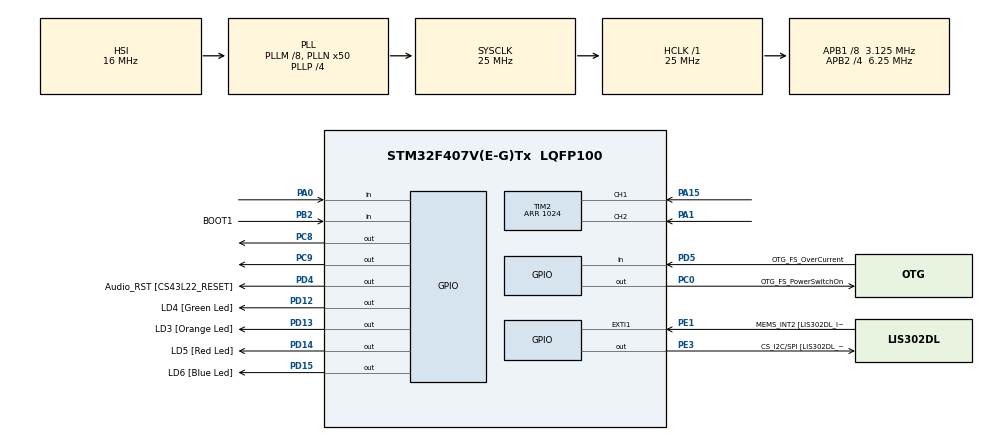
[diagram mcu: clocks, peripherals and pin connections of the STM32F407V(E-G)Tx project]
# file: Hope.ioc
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Mcu.Family=STM32F4
Mcu.Name=STM32F407V(E-G)Tx
Mcu.Package=LQFP100
NVIC.PriorityGroup=NVIC_PRIORITYGROUP_0
PA0-WKUP.GPIO_PuPd=GPIO_PULLUP
PA0-WKUP.Signal=GPIO_Input
PA1.GPIO_PuPd=GPIO_PULLUP
PA1.GPIO_Speed=GPIO_SPEED_FREQ_VERY_HIGH
PA1.Signal=S_TIM2_CH2
PA10.GPIO_Label=OTG_FS_ID
PA10.GPIO_Mode=GPIO_MODE_AF_PP
PA10.GPIO_PuPd=GPIO_NOPULL
PA10.GPIO_Speed=GPIO_SPEED_FREQ_LOW
PA10.Signal=USB_OTG_FS_ID
PA11.GPIO_Label=OTG_FS_DM
PA11.GPIO_Mode=GPIO_MODE_AF_PP
PA11.GPIO_PuPd=GPIO_NOPULL
PA11.GPIO_Speed=GPIO_SPEED_FREQ_LOW
PA11.Signal=USB_OTG_FS_DM
PA12.GPIO_Label=OTG_FS_DP
PA12.GPIO_Mode=GPIO_MODE_AF_PP
PA12.GPIO_PuPd=GPIO_NOPULL
PA12.GPIO_Speed=GPIO_SPEED_FREQ_LOW
PA12.Signal=USB_OTG_FS_DP
PA13.GPIO_Label=SWDIO
PA13.Signal=SYS_JTMS-SWDIO
PA14.GPIO_Label=SWCLK
PA14.Signal=SYS_JTCK-SWCLK
PA15.GPIO_PuPd=GPIO_PULLUP
PA15.GPIO_Speed=GPIO_SPEED_FREQ_VERY_HIGH
PA15.Signal=S_TIM2_CH1_ETR
PA4.GPIO_Label=I2S3_WS [CS43L22_LRCK]
PA4.GPIO_Mode=GPIO_MODE_AF_PP
PA4.GPIO_PuPd=GPIO_NOPULL
PA4.GPIO_Speed=GPIO_SPEED_FREQ_LOW
PA4.Signal=I2S3_WS
PA5.GPIO_Label=SPI1_SCK [LIS302DL_SCL/SPC]
PA5.GPIO_Mode=GPIO_MODE_AF_PP
PA5.GPIO_PuPd=GPIO_NOPULL
PA5.GPIO_Speed=GPIO_SPEED_FREQ_LOW
PA5.Signal=SPI1_SCK
PA6.GPIO_Label=SPI1_MISO [LIS302DL_SDO]
PA6.GPIO_Mode=GPIO_MODE_AF_PP
PA6.GPIO_PuPd=GPIO_NOPULL
PA6.GPIO_Speed=GPIO_SPEED_FREQ_LOW
PA6.Signal=SPI1_MISO
PA7.GPIO_Label=SPI1_MOSI [LIS302DL_SDA/SDI/SDO]
PA7.GPIO_Mode=GPIO_MODE_AF_PP
PA7.GPIO_PuPd=GPIO_NOPULL
PA7.GPIO_Speed=GPIO_SPEED_FREQ_LOW
PA7.Signal=SPI1_MOSI
PA9.GPIO_Label=VBUS_FS
PA9.GPIO_Mode=GPIO_MODE_INPUT
PA9.GPIO_PuPd=GPIO_NOPULL
PA9.Signal=USB_OTG_FS_VBUS
PB10.GPIO_Label=CLK_IN [MP45DT02_CLK]
PB10.GPIO_Mode=GPIO_MODE_AF_PP
PB10.GPIO_PuPd=GPIO_NOPULL
PB10.GPIO_Speed=GPIO_SPEED_FREQ_LOW
PB10.Signal=I2S2_CK
PB2.GPIO_Label=BOOT1
PB2.GPIO_Mode=GPIO_MODE_INPUT
PB2.GPIO_PuPd=GPIO_NOPULL
PB2.Signal=GPIO_Input
PB3.GPIO_Label=SWO
PB3.Signal=SYS_JTDO-SWO
PB6.GPIO_Label=Audio_SCL [CS43L22_SCL]
PB6.GPIO_Mode=GPIO_MODE_AF_OD
PB6.GPIO_PuPd=GPIO_NOPULL
PB6.GPIO_Speed=GPIO_SPEED_FREQ_LOW
PB6.Signal=I2C1_SCL
PB9.GPIO_Label=Audio_SDA [CS43L22_SDA]
PB9.GPIO_Mode=GPIO_MODE_AF_OD
PB9.GPIO_PuPd=GPIO_NOPULL
PB9.GPIO_Speed=GPIO_SPEED_FREQ_LOW
PB9.Signal=I2C1_SDA
PC0.GPIO_Label=OTG_FS_PowerSwitchOn
PC0.GPIO_PuPd=GPIO_NOPULL
PC0.GPIO_Speed=GPIO_SPEED_FREQ_LOW
PC0.PinState=GPIO_PIN_SET
PC0.Signal=GPIO_Output
PC10.GPIO_Label=I2S3_SCK [CS43L22_SCLK]
PC10.GPIO_Mode=GPIO_MODE_AF_PP
PC10.GPIO_PuPd=GPIO_NOPULL
PC10.GPIO_Speed=GPIO_SPEED_FREQ_LOW
PC10.Signal=I2S3_CK
PC12.GPIO_Label=I2S3_SD [CS43L22_SDIN]
PC12.GPIO_Mode=GPIO_MODE_AF_PP
PC12.GPIO_PuPd=GPIO_NOPULL
PC12.GPIO_Speed=GPIO_SPEED_FREQ_LOW
PC12.Signal=I2S3_SD
PC14-OSC32_IN.GPIO_Label=PC14-OSC32_IN
PC14-OSC32_IN.Signal=RCC_OSC32_IN
PC15-OSC32_OUT.GPIO_Label=PC15-OSC32_OUT
PC15-OSC32_OUT.Signal=RCC_OSC32_OUT
PC3.GPIO_Label=PDM_OUT [MP45DT02_DOUT]
PC3.GPIO_Mode=GPIO_MODE_AF_PP
PC3.GPIO_PuPd=GPIO_NOPULL
PC3.GPIO_Speed=GPIO_SPEED_FREQ_LOW
PC3.Signal=I2S2_SD
PC7.GPIO_Label=I2S3_MCK [CS43L22_MCLK]
PC7.GPIO_Mode=GPIO_MODE_AF_PP
PC7.GPIO_PuPd=GPIO_NOPULL
PC7.GPIO_Speed=GPIO_SPEED_FREQ_LOW
PC7.Signal=I2S3_MCK
PC8.GPIO_PuPd=GPIO_PULLUP
PC8.Signal=GPIO_Output
PC9.GPIO_PuPd=GPIO_PULLUP
PC9.Signal=GPIO_Output
PD12.GPIO_Label=LD4 [Green Led]
PD12.GPIO_PuPd=GPIO_NOPULL
PD12.GPIO_Speed=GPIO_SPEED_FREQ_LOW
PD12.PinState=GPIO_PIN_SET
PD12.Signal=GPIO_Output
PD13.GPIO_Label=LD3 [Orange Led]
PD13.GPIO_PuPd=GPIO_NOPULL
PD13.GPIO_Speed=GPIO_SPEED_FREQ_LOW
PD13.PinState=GPIO_PIN_SET
PD13.Signal=GPIO_Output
PD14.GPIO_Label=LD5 [Red Led]
PD14.GPIO_PuPd=GPIO_NOPULL
PD14.GPIO_Speed=GPIO_SPEED_FREQ_LOW
PD14.PinState=GPIO_PIN_SET
PD14.Signal=GPIO_Output
PD15.GPIO_Label=LD6 [Blue Led]
PD15.GPIO_PuPd=GPIO_NOPULL
PD15.GPIO_Speed=GPIO_SPEED_FREQ_LOW
PD15.Signal=GPIO_Output
PD4.GPIO_Label=Audio_RST [CS43L22_RESET]
PD4.GPIO_PuPd=GPIO_NOPULL
PD4.GPIO_Speed=GPIO_SPEED_FREQ_LOW
PD4.Signal=GPIO_Output
PD5.GPIO_Label=OTG_FS_OverCurrent
PD5.GPIO_Mode=GPIO_MODE_INPUT
PD5.GPIO_PuPd=GPIO_NOPULL
PD5.Signal=GPIO_Input
PE1.GPIO_Label=MEMS_INT2 [LIS302DL_INT2]
PE1.GPIO_ModeDefaultEXTI=GPIO_MODE_EVT_RISING
PE1.GPIO_PuPd=GPIO_NOPULL
PE1.Signal=GPXTI1
PE3.GPIO_Label=CS_I2C/SPI [LIS302DL_CS_I2C/SPI]
PE3.GPIO_PuPd=GPIO_NOPULL
PE3.GPIO_Speed=GPIO_SPEED_FREQ_LOW
PE3.Signal=GPIO_Output
PH0-OSC_IN.GPIO_Label=PH0-OSC_IN
PH0-OSC_IN.Mode=HSE-External-Oscillator
PH0-OSC_IN.Signal=RCC_OSC_IN
PH1-OSC_OUT.GPIO_Label=PH1-OSC_OUT
PH1-OSC_OUT.Mode=HSE-External-Oscillator
PH1-OSC_OUT.Signal=RCC_OSC_OUT
ProjectManager.HeapSize=0x200
ProjectManager.StackSize=0x400
ProjectManager.TargetToolchain=MDK-ARM V5
RCC.48MHZClocksFreq_Value=14285714.285714285
RCC.AHBFreq_Value=25000000
RCC.APB1CLKDivider=RCC_HCLK_DIV8
RCC.APB1Freq_Value=3125000
RCC.APB1TimFreq_Value=6250000
RCC.APB2CLKDivider=RCC_HCLK_DIV4
RCC.APB2Freq_Value=6250000
RCC.APB2TimFreq_Value=12500000
RCC.CortexFreq_Value=25000000
RCC.HCLKFreq_Value=25000000
RCC.HSE_VALUE=8000000
RCC.HSI_VALUE=16000000
RCC.LSE_VALUE=32768
RCC.PLLM=8
RCC.PLLN=50
RCC.PLLP=RCC_PLLP_DIV4
RCC.PLLQ=7
RCC.SYSCLKFreq_VALUE=25000000
RCC.SYSCLKSource=RCC_SYSCLKSOURCE_PLLCLK
RCC.VCOOutputFreq_Value=100000000
SH.S_TIM2_CH1_ETR.0=TIM2_CH1,Encoder_Interface
SH.S_TIM2_CH2.0=TIM2_CH2,Encoder_Interface
TIM2.EncoderMode=TIM_ENCODERMODE_TI12
TIM2.Period=1024
board=STM32F4DISCOVERY

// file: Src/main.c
/**
  ******************************************************************************
  * File Name          : main.c
  * Description        : Main program body
  ******************************************************************************
  ** This notice applies to any and all portions of this file
  * that are not between comment pairs USER CODE BEGIN and
  * USER CODE END. Other portions of this file, whether
  * inserted by the user or by software development tools
  * are owned by their respective copyright owners.
  *
  * COPYRIGHT(c) 2018 STMicroelectronics
  *
  * Redistribution and use in source and binary forms, with or without modification,
  * are permitted provided that the following conditions are met:
  *   1. Redistributions of source code must retain the above copyright notice,
  *      this list of conditions and the following disclaimer.
  *   2. Redistributions in binary form must reproduce the above copyright notice,
  *      this list of conditions and the following disclaimer in the documentation
  *      and/or other materials provided with the distribution.
  *   3. Neither the name of STMicroelectronics nor the names of its contributors
  *      may be used to endorse or promote products derived from this software
  *      without specific prior written permission.
  *
  * THIS SOFTWARE IS PROVIDED BY THE COPYRIGHT HOLDERS AND CONTRIBUTORS "AS IS"
  * AND ANY EXPRESS OR IMPLIED WARRANTIES, INCLUDING, BUT NOT LIMITED TO, THE
  * IMPLIED WARRANTIES OF MERCHANTABILITY AND FITNESS FOR A PARTICULAR PURPOSE ARE
  * DISCLAIMED. IN NO EVENT SHALL THE COPYRIGHT HOLDER OR CONTRIBUTORS BE LIABLE
  * FOR ANY DIRECT, INDIRECT, INCIDENTAL, SPECIAL, EXEMPLARY, OR CONSEQUENTIAL
  * DAMAGES (INCLUDING, BUT NOT LIMITED TO, PROCUREMENT OF SUBSTITUTE GOODS OR
  * SERVICES; LOSS OF USE, DATA, OR PROFITS; OR BUSINESS INTERRUPTION) HOWEVER
  * CAUSED AND ON ANY THEORY OF LIABILITY, WHETHER IN CONTRACT, STRICT LIABILITY,
  * OR TORT (INCLUDING NEGLIGENCE OR OTHERWISE) ARISING IN ANY WAY OUT OF THE USE
  * OF THIS SOFTWARE, EVEN IF ADVISED OF THE POSSIBILITY OF SUCH DAMAGE.
  *
  ******************************************************************************
  */

#include "main.h"
#include "stm32f4xx_hal.h"

#define ENCODER_INITIAL_VALUE     30000

TIM_HandleTypeDef htim2;

/* USER CODE BEGIN PV */
uint16_t encCounter;

/* Private variables ---------------------------------------------------------*/

/* USER CODE END PV */

void SystemClock_Config(void);
static void MX_GPIO_Init(void);
static void MX_TIM2_Init(void);

/* USER CODE BEGIN PFP */
/* Private function prototypes -----------------------------------------------*/

/* USER CODE END PFP */

int main(void)
{

  /* MCU Configuration----------------------------------------------------------*/

  /* Reset of all peripherals, Initializes the Flash interface and the Systick. */
  HAL_Init();

  /* Configure the system clock */
  SystemClock_Config();

  /* Initialize all configured peripherals */
  MX_GPIO_Init();
  MX_TIM2_Init();

  /* USER CODE BEGIN 2 */
	HAL_TIM_Encoder_Start(&htim2,TIM_CHANNEL_1);

  /* USER CODE END 2 */

  /* Infinite loop */
  /* USER CODE BEGIN WHILE */

	uint8_t c=0;

  while (1)
  {
  /* USER CODE END WHILE */

  /* USER CODE BEGIN 3 */
		encCounter =TIM2->CNT - ENCODER_INITIAL_VALUE;
		TIM2->CNT = ENCODER_INITIAL_VALUE;

		HAL_Delay(100);

	uint16_t b = HAL_GPIO_ReadPin(GPIOA,GPIO_PIN_0);

  /* USER CODE END WHILE */
	if (b==1) c=c+1;
		HAL_Delay(100);
	if (c>=1)HAL_GPIO_WritePin(GPIOD,GPIO_PIN_12,GPIO_PIN_SET);
	HAL_Delay(100);
	if (c>=2){
		HAL_GPIO_WritePin(GPIOD,GPIO_PIN_12,GPIO_PIN_SET);
		HAL_GPIO_WritePin(GPIOD,GPIO_PIN_13,GPIO_PIN_SET);
	}
	HAL_Delay(100);
	if (c>=3){
		HAL_GPIO_WritePin(GPIOD,GPIO_PIN_12,GPIO_PIN_SET);
		HAL_GPIO_WritePin(GPIOD,GPIO_PIN_13,GPIO_PIN_SET);
		HAL_GPIO_WritePin(GPIOD,GPIO_PIN_14,GPIO_PIN_SET);
			HAL_Delay(100);
	}
	if (c==4){
		HAL_GPIO_WritePin(GPIOD,GPIO_PIN_12,GPIO_PIN_RESET);
		HAL_GPIO_WritePin(GPIOD,GPIO_PIN_13,GPIO_PIN_RESET);
		HAL_GPIO_WritePin(GPIOD,GPIO_PIN_14,GPIO_PIN_RESET);
	};

		if (c==4) c=0;

  }
  /* USER CODE END 3 */

}

/** System Clock Configuration
*/
void SystemClock_Config(void)
{

  RCC_OscInitTypeDef RCC_OscInitStruct;
  RCC_ClkInitTypeDef RCC_ClkInitStruct;

    /**Configure the main internal regulator output voltage
    */
  __HAL_RCC_PWR_CLK_ENABLE();

  __HAL_PWR_VOLTAGESCALING_CONFIG(PWR_REGULATOR_VOLTAGE_SCALE1);

    /**Initializes the CPU, AHB and APB busses clocks
    */
  RCC_OscInitStruct.OscillatorType = RCC_OSCILLATORTYPE_HSI;
  RCC_OscInitStruct.HSIState = RCC_HSI_ON;
  RCC_OscInitStruct.HSICalibrationValue = 16;
  RCC_OscInitStruct.PLL.PLLState = RCC_PLL_ON;
  RCC_OscInitStruct.PLL.PLLSource = RCC_PLLSOURCE_HSI;
  RCC_OscInitStruct.PLL.PLLM = 8;
  RCC_OscInitStruct.PLL.PLLN = 50;
  RCC_OscInitStruct.PLL.PLLP = RCC_PLLP_DIV4;
  RCC_OscInitStruct.PLL.PLLQ = 7;
  if (HAL_RCC_OscConfig(&RCC_OscInitStruct) != HAL_OK)
  {
    _Error_Handler(__FILE__, __LINE__);
  }

    /**Initializes the CPU, AHB and APB busses clocks
    */
  RCC_ClkInitStruct.ClockType = RCC_CLOCKTYPE_HCLK|RCC_CLOCKTYPE_SYSCLK
                              |RCC_CLOCKTYPE_PCLK1|RCC_CLOCKTYPE_PCLK2;
  RCC_ClkInitStruct.SYSCLKSource = RCC_SYSCLKSOURCE_PLLCLK;
  RCC_ClkInitStruct.AHBCLKDivider = RCC_SYSCLK_DIV1;
  RCC_ClkInitStruct.APB1CLKDivider = RCC_HCLK_DIV8;
  RCC_ClkInitStruct.APB2CLKDivider = RCC_HCLK_DIV4;

  if (HAL_RCC_ClockConfig(&RCC_ClkInitStruct, FLASH_LATENCY_0) != HAL_OK)
  {
    _Error_Handler(__FILE__, __LINE__);
  }

    /**Configure the Systick interrupt time
    */
  HAL_SYSTICK_Config(HAL_RCC_GetHCLKFreq()/1000);

    /**Configure the Systick
    */
  HAL_SYSTICK_CLKSourceConfig(SYSTICK_CLKSOURCE_HCLK);

  /* SysTick_IRQn interrupt configuration */
  HAL_NVIC_SetPriority(SysTick_IRQn, 0, 0);
}

/* TIM2 init function */
static void MX_TIM2_Init(void)
{

  TIM_Encoder_InitTypeDef sConfig;
  TIM_MasterConfigTypeDef sMasterConfig;

  htim2.Instance = TIM2;
  htim2.Init.Prescaler = 0;
  htim2.Init.CounterMode = TIM_COUNTERMODE_UP;
  htim2.Init.Period = 1024;
  htim2.Init.ClockDivision = TIM_CLOCKDIVISION_DIV1;
  sConfig.EncoderMode = TIM_ENCODERMODE_TI12;
  sConfig.IC1Polarity = TIM_ICPOLARITY_RISING;
  sConfig.IC1Selection = TIM_ICSELECTION_DIRECTTI;
  sConfig.IC1Prescaler = TIM_ICPSC_DIV1;
  sConfig.IC1Filter = 0;
  sConfig.IC2Polarity = TIM_ICPOLARITY_RISING;
  sConfig.IC2Selection = TIM_ICSELECTION_DIRECTTI;
  sConfig.IC2Prescaler = TIM_ICPSC_DIV1;
  sConfig.IC2Filter = 0;
  if (HAL_TIM_Encoder_Init(&htim2, &sConfig) != HAL_OK)
  {
    _Error_Handler(__FILE__, __LINE__);
  }

  sMasterConfig.MasterOutputTrigger = TIM_TRGO_RESET;
  sMasterConfig.MasterSlaveMode = TIM_MASTERSLAVEMODE_DISABLE;
  if (HAL_TIMEx_MasterConfigSynchronization(&htim2, &sMasterConfig) != HAL_OK)
  {
    _Error_Handler(__FILE__, __LINE__);
  }

}

/** Configure pins as
        * Analog
        * Input
        * Output
        * EVENT_OUT
        * EXTI
     PC3   ------> I2S2_SD
     PA4   ------> I2S3_WS
     PA5   ------> SPI1_SCK
     PA6   ------> SPI1_MISO
     PA7   ------> SPI1_MOSI
     PB10   ------> I2S2_CK
     PC7   ------> I2S3_MCK
     PA9   ------> USB_OTG_FS_VBUS
     PA10   ------> USB_OTG_FS_ID
     PA11   ------> USB_OTG_FS_DM
     PA12   ------> USB_OTG_FS_DP
     PC10   ------> I2S3_CK
     PC12   ------> I2S3_SD
     PB6   ------> I2C1_SCL
     PB9   ------> I2C1_SDA
*/
static void MX_GPIO_Init(void)
{

  GPIO_InitTypeDef GPIO_InitStruct;

  /* GPIO Ports Clock Enable */
  __HAL_RCC_GPIOE_CLK_ENABLE();
  __HAL_RCC_GPIOC_CLK_ENABLE();
  __HAL_RCC_GPIOH_CLK_ENABLE();
  __HAL_RCC_GPIOA_CLK_ENABLE();
  __HAL_RCC_GPIOB_CLK_ENABLE();
  __HAL_RCC_GPIOD_CLK_ENABLE();

  /*Configure GPIO pin Output Level */
  HAL_GPIO_WritePin(CS_I2C_SPI_GPIO_Port, CS_I2C_SPI_Pin, GPIO_PIN_RESET);

  /*Configure GPIO pin Output Level */
  HAL_GPIO_WritePin(OTG_FS_PowerSwitchOn_GPIO_Port, OTG_FS_PowerSwitchOn_Pin, GPIO_PIN_SET);

  /*Configure GPIO pin Output Level */
  HAL_GPIO_WritePin(GPIOD, LD4_Pin|LD3_Pin|LD5_Pin, GPIO_PIN_SET);

  /*Configure GPIO pin Output Level */
  HAL_GPIO_WritePin(GPIOD, LD6_Pin|Audio_RST_Pin, GPIO_PIN_RESET);

  /*Configure GPIO pin Output Level */
  HAL_GPIO_WritePin(GPIOC, GPIO_PIN_8|GPIO_PIN_9, GPIO_PIN_RESET);

  /*Configure GPIO pin : CS_I2C_SPI_Pin */
  GPIO_InitStruct.Pin = CS_I2C_SPI_Pin;
  GPIO_InitStruct.Mode = GPIO_MODE_OUTPUT_PP;
  GPIO_InitStruct.Pull = GPIO_NOPULL;
  GPIO_InitStruct.Speed = GPIO_SPEED_FREQ_LOW;
  HAL_GPIO_Init(CS_I2C_SPI_GPIO_Port, &GPIO_InitStruct);

  /*Configure GPIO pin : OTG_FS_PowerSwitchOn_Pin */
  GPIO_InitStruct.Pin = OTG_FS_PowerSwitchOn_Pin;
  GPIO_InitStruct.Mode = GPIO_MODE_OUTPUT_PP;
  GPIO_InitStruct.Pull = GPIO_NOPULL;
  GPIO_InitStruct.Speed = GPIO_SPEED_FREQ_LOW;
  HAL_GPIO_Init(OTG_FS_PowerSwitchOn_GPIO_Port, &GPIO_InitStruct);

  /*Configure GPIO pin : PDM_OUT_Pin */
  GPIO_InitStruct.Pin = PDM_OUT_Pin;
  GPIO_InitStruct.Mode = GPIO_MODE_AF_PP;
  GPIO_InitStruct.Pull = GPIO_NOPULL;
  GPIO_InitStruct.Speed = GPIO_SPEED_FREQ_LOW;
  GPIO_InitStruct.Alternate = GPIO_AF5_SPI2;
  HAL_GPIO_Init(PDM_OUT_GPIO_Port, &GPIO_InitStruct);

  /*Configure GPIO pin : PA0 */
  GPIO_InitStruct.Pin = GPIO_PIN_0;
  GPIO_InitStruct.Mode = GPIO_MODE_INPUT;
  GPIO_InitStruct.Pull = GPIO_NOPULL;
  HAL_GPIO_Init(GPIOA, &GPIO_InitStruct);

  /*Configure GPIO pin : I2S3_WS_Pin */
  GPIO_InitStruct.Pin = I2S3_WS_Pin;
  GPIO_InitStruct.Mode = GPIO_MODE_AF_PP;
  GPIO_InitStruct.Pull = GPIO_NOPULL;
  GPIO_InitStruct.Speed = GPIO_SPEED_FREQ_LOW;
  GPIO_InitStruct.Alternate = GPIO_AF6_SPI3;
  HAL_GPIO_Init(I2S3_WS_GPIO_Port, &GPIO_InitStruct);

  /*Configure GPIO pins : SPI1_SCK_Pin SPI1_MISO_Pin SPI1_MOSI_Pin */
  GPIO_InitStruct.Pin = SPI1_SCK_Pin|SPI1_MISO_Pin|SPI1_MOSI_Pin;
  GPIO_InitStruct.Mode = GPIO_MODE_AF_PP;
  GPIO_InitStruct.Pull = GPIO_NOPULL;
  GPIO_InitStruct.Speed = GPIO_SPEED_FREQ_LOW;
  GPIO_InitStruct.Alternate = GPIO_AF5_SPI1;
  HAL_GPIO_Init(GPIOA, &GPIO_InitStruct);

  /*Configure GPIO pin : BOOT1_Pin */
  GPIO_InitStruct.Pin = BOOT1_Pin;
  GPIO_InitStruct.Mode = GPIO_MODE_INPUT;
  GPIO_InitStruct.Pull = GPIO_NOPULL;
  HAL_GPIO_Init(BOOT1_GPIO_Port, &GPIO_InitStruct);

  /*Configure GPIO pin : CLK_IN_Pin */
  GPIO_InitStruct.Pin = CLK_IN_Pin;
  GPIO_InitStruct.Mode = GPIO_MODE_AF_PP;
  GPIO_InitStruct.Pull = GPIO_NOPULL;
  GPIO_InitStruct.Speed = GPIO_SPEED_FREQ_LOW;
  GPIO_InitStruct.Alternate = GPIO_AF5_SPI2;
  HAL_GPIO_Init(CLK_IN_GPIO_Port, &GPIO_InitStruct);

  /*Configure GPIO pins : LD4_Pin LD3_Pin LD5_Pin LD6_Pin
                           Audio_RST_Pin */
  GPIO_InitStruct.Pin = LD4_Pin|LD3_Pin|LD5_Pin|LD6_Pin
                          |Audio_RST_Pin;
  GPIO_InitStruct.Mode = GPIO_MODE_OUTPUT_PP;
  GPIO_InitStruct.Pull = GPIO_NOPULL;
  GPIO_InitStruct.Speed = GPIO_SPEED_FREQ_LOW;
  HAL_GPIO_Init(GPIOD, &GPIO_InitStruct);

  /*Configure GPIO pins : I2S3_MCK_Pin I2S3_SCK_Pin I2S3_SD_Pin */
  GPIO_InitStruct.Pin = I2S3_MCK_Pin|I2S3_SCK_Pin|I2S3_SD_Pin;
  GPIO_InitStruct.Mode = GPIO_MODE_AF_PP;
  GPIO_InitStruct.Pull = GPIO_NOPULL;
  GPIO_InitStruct.Speed = GPIO_SPEED_FREQ_LOW;
  GPIO_InitStruct.Alternate = GPIO_AF6_SPI3;
  HAL_GPIO_Init(GPIOC, &GPIO_InitStruct);

  /*Configure GPIO pins : PC8 PC9 */
  GPIO_InitStruct.Pin = GPIO_PIN_8|GPIO_PIN_9;
  GPIO_InitStruct.Mode = GPIO_MODE_OUTPUT_PP;
  GPIO_InitStruct.Pull = GPIO_PULLUP;
  GPIO_InitStruct.Speed = GPIO_SPEED_FREQ_LOW;
  HAL_GPIO_Init(GPIOC, &GPIO_InitStruct);

  /*Configure GPIO pin : VBUS_FS_Pin */
  GPIO_InitStruct.Pin = VBUS_FS_Pin;
  GPIO_InitStruct.Mode = GPIO_MODE_INPUT;
  GPIO_InitStruct.Pull = GPIO_NOPULL;
  HAL_GPIO_Init(VBUS_FS_GPIO_Port, &GPIO_InitStruct);

  /*Configure GPIO pins : OTG_FS_ID_Pin OTG_FS_DM_Pin OTG_FS_DP_Pin */
  GPIO_InitStruct.Pin = OTG_FS_ID_Pin|OTG_FS_DM_Pin|OTG_FS_DP_Pin;
  GPIO_InitStruct.Mode = GPIO_MODE_AF_PP;
  GPIO_InitStruct.Pull = GPIO_NOPULL;
  GPIO_InitStruct.Speed = GPIO_SPEED_FREQ_LOW;
  GPIO_InitStruct.Alternate = GPIO_AF10_OTG_FS;
  HAL_GPIO_Init(GPIOA, &GPIO_InitStruct);

  /*Configure GPIO pin : OTG_FS_OverCurrent_Pin */
  GPIO_InitStruct.Pin = OTG_FS_OverCurrent_Pin;
  GPIO_InitStruct.Mode = GPIO_MODE_INPUT;
  GPIO_InitStruct.Pull = GPIO_NOPULL;
  HAL_GPIO_Init(OTG_FS_OverCurrent_GPIO_Port, &GPIO_InitStruct);

  /*Configure GPIO pins : Audio_SCL_Pin Audio_SDA_Pin */
  GPIO_InitStruct.Pin = Audio_SCL_Pin|Audio_SDA_Pin;
  GPIO_InitStruct.Mode = GPIO_MODE_AF_OD;
  GPIO_InitStruct.Pull = GPIO_PULLUP;
  GPIO_InitStruct.Speed = GPIO_SPEED_FREQ_LOW;
  GPIO_InitStruct.Alternate = GPIO_AF4_I2C1;
  HAL_GPIO_Init(GPIOB, &GPIO_InitStruct);

  /*Configure GPIO pin : MEMS_INT2_Pin */
  GPIO_InitStruct.Pin = MEMS_INT2_Pin;
  GPIO_InitStruct.Mode = GPIO_MODE_EVT_RISING;
  GPIO_InitStruct.Pull = GPIO_NOPULL;
  HAL_GPIO_Init(MEMS_INT2_GPIO_Port, &GPIO_InitStruct);

}

void _Error_Handler(char * file, int line)
{
  while(1)
  {
  }
}

/************************ (C) COPYRIGHT STMicroelectronics *****END OF FILE****/
